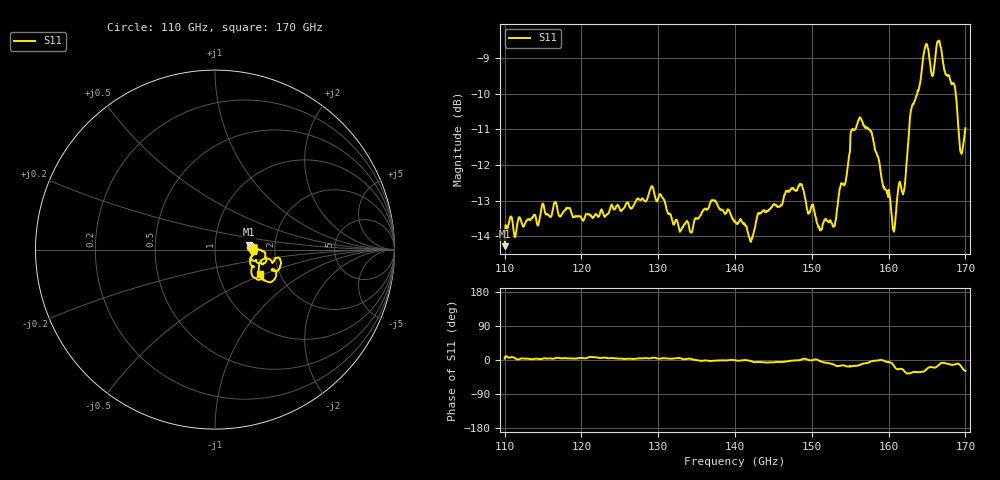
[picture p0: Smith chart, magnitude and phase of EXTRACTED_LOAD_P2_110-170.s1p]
! Generated by Phase I extraction
# Hz S RI R 50
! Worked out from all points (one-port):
!   1471 points, 110 GHz to 170 GHz, reference 50 ohm
!   lowest |S11| = -14.3 dB at 110 GHz (marker M1), VSWR 1.48, Z = 73.5 + j4.06 ohm
!   |S11| at or under -10 dB: start of sweep to 163.7 GHz; 168.7 GHz to end of sweep
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1.1e11  0.2008 0.0134
1.100408e11  0.1914 0.0266
1.175102e11  0.2139 0.0165
1.250204e11  0.2169 0.0143
1.291837e11  0.2335 0.0229
1.325306e11  0.2079 0.018
1.371429e11  0.2241 -0.00805
1.4e11  0.2094 -0.00232
1.421224e11  0.1965 -0.0117
1.475102e11  0.2329 -0.00645
1.505714e11  0.2109 0.00513
1.528571e11  0.2019 -0.042
1.550204e11  0.2621 -0.082
1.564082e11  0.286 -0.0586
1.59102e11  0.2401 0.000121
1.606939e11  0.1953 -0.0531
1.613469e11  0.2152 -0.0958
1.62e11  0.2035 -0.1094
1.625306e11  0.2175 -0.1564
1.645306e11  0.3077 -0.183
1.650612e11  0.3405 -0.14
1.657551e11  0.3163 -0.112
1.664898e11  0.3635 -0.0905
1.670612e11  0.3483 -0.0443
1.685714e11  0.3176 -0.0678
1.690612e11  0.282 -0.0485
1.694694e11  0.2481 -0.08
1.7e11  0.248 -0.1362
